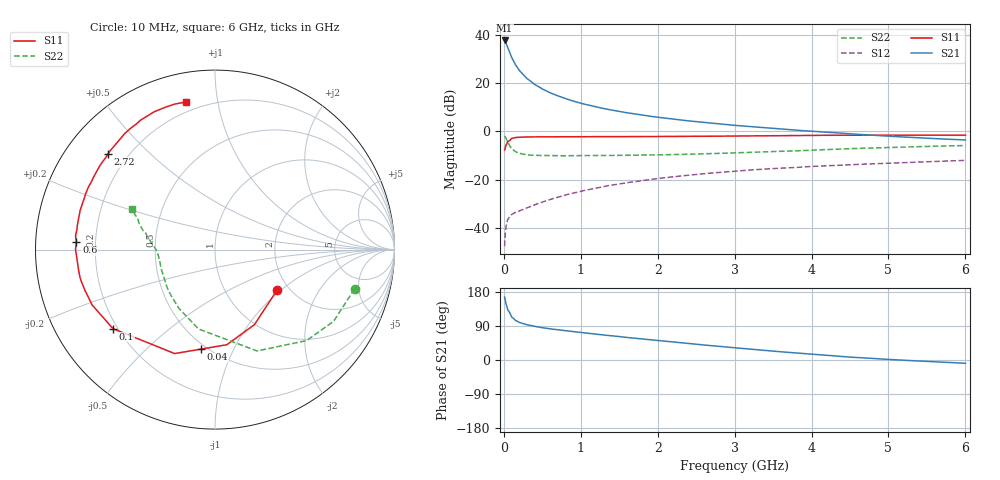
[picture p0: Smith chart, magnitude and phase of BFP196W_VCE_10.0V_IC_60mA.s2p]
! Infineon Technologies  Discrete & RF Semiconductors
! BFP196W
! VCE = 10.0V,  IC =  60mA
! Common Emitter S-Parameters:  Jan 2016
# GHz  S  MA  R  50
!  f  S11  S21  S12  S22
! GHz  MAG  ANG  MAG  ANG  MAG  ANG  MAG  ANG
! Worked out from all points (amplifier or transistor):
!   210 points, 10 MHz to 6 GHz, reference 50 ohm
!   highest |S21| = 37.7 dB at 10 MHz (marker M1)
!   |S21| within 3 dB of that: start of sweep to 51.53 MHz
!   unconditionally stable (mu >= 1): 660.9 MHz to 3.906 GHz
!   at 185 MHz: K = 0.55, MSG = 29.6 dB, |S12| = -33.2 dB
!   at 1.52 GHz: K = 1.11, MAG = 12.9 dB, |S12| = -21.6 dB
!   at 6 GHz: K = 0.97, MSG = 4.2 dB, |S12| = -12.0 dB
!   S11 on the Smith chart (normalised r, x): 10 MHz: 1.74, -0.94; 40 MHz: 0.47, -0.75; 100 MHz: 0.18, -0.33; 600 MHz: 0.13, +0.03; 2.72 GHz: 0.13, +0.38; 6 GHz: 0.15, +0.81
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0.01  0.4131 -33.0  77.06 166.2  0.0042 64.6  0.8081 -15.7
0.02  0.4725 -62.3  73.86 156.6  0.0083 64.4  0.7723 -31.1
0.03  0.5342 -82.9  67.93 147.3  0.0109 59.0  0.7194 -44.8
0.04  0.5603 -98.1  61.09 140.7  0.0129 53.0  0.6523 -55.2
0.05  0.6213 -111.2  55.25 132.5  0.015 48.7  0.6111 -67.5
0.1  0.719 -142.2  34.51 113.7  0.019 38.3  0.4516 -101.7
0.15  0.7507 -155.7  24.31 104.4  0.021 37.0  0.3845 -121.4
0.2  0.7599 -163.0  18.53 99.3  0.0224 39.8  0.3544 -133.7
0.26  0.7676 -168.3  14.54 95.2  0.0246 42.0  0.3379 -142.8
0.3  0.7687 -170.9  12.53 93.1  0.026 44.2  0.3281 -147.8
0.4  0.7701 -176.2  9.462 88.7  0.0302 48.7  0.3211 -155.3
0.5  0.7773 -179.9  7.621 85.2  0.0344 52.3  0.3182 -160.4
0.6  0.7733 177.0  6.357 82.3  0.0388 54.5  0.3157 -164.1
0.8  0.7768 171.8  4.796 77.3  0.0482 57.7  0.3142 -168.4
1.02  0.7793 167.5  3.782 72.3  0.0586 59.4  0.3163 -171.7
1.4  0.7827 160.3  2.783 63.8  0.0773 59.5  0.3198 -175.4
2.02  0.7876 149.4  1.957 51.0  0.107 56.6  0.3283 -179.9
2.72  0.7995 138.2  1.476 37.5  0.1388 51.2  0.3488 175.3
3.1  0.8079 132.5  1.303 30.6  0.1549 47.8  0.3647 172.3
4.1  0.8326 118.7  0.99 13.9  0.1918 39.5  0.4166 164.9
5.1  0.84 108.4  0.783 0.5  0.2234 31.7  0.4694 157.8
6  0.838 101.1  0.668 -8.6  0.2518 25.8  0.512 154.0
